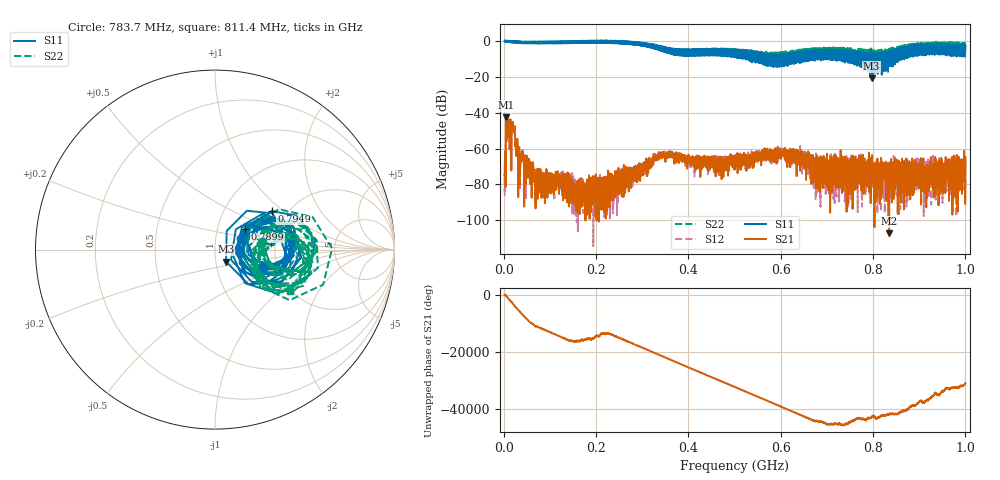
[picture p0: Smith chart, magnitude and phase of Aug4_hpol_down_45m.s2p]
!Keysight Technologies N9923A: A.12.45
!Date: Tuesday, 05 August 2025 19:10:24
!Timezone: (UTC+08:00) Kuala Lumpur, Singapore
!Model: N9923A
!Serial: MY61181427
!GPS Latitude:
!GPS Longitude:
!GPS TimeStamp: 0001-01-01 00:00:00Z
!GPS Seconds Since Last Read: 0
!CHECKSUM:1889363829
!Correction: S11(ON U)S21(ON U)S12(ON U)S22(ON U)
!S2P File: Measurements:S11,S21,S12,S22:
# Hz S DB R 50
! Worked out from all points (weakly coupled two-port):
!   4001 points, 2 MHz to 1 GHz, reference 50 ohm
!   highest |S21| = -42.59 dB at 4.994 MHz (marker M1); lowest = -107.2 dB at 834.8 MHz (marker M2)
!   lowest |S11| = -20.9 dB at 796.9 MHz (marker M3), VSWR 1.20, Z = 56 - j7.52 ohm
!   |S11| at or under -10 dB: 575.8153 MHz to 576.6012 MHz (785.9 kHz wide, 0.136 % of centre); 582.5588 MHz to 583.3547 MHz (795.9 kHz wide, 0.137 % of centre); 589.3101 MHz to 590.113 MHz (802.9 kHz wide, 0.136 % of centre)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
!   |S22| runs from -14.8 to 0.2 dB; largest |S21 - S12| = 0.0011
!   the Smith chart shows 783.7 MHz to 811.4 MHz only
!   S11 on the Smith chart (normalised r, x): 783.7 MHz: 1.69, -0.36; 789.9 MHz: 1.36, +0.32; 794.9 MHz: 1.66, +0.83; 811.4 MHz: 2.46, +0.23
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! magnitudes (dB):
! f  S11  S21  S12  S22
! 2 MHz  -0.1  -74.7  -76.2  -0.1
! 4.994 MHz  0.1  -42.6  -42.5  0.1
! 9.735 MHz  -0.2  -43.8  -43.8  -0.2
! 18.97 MHz  -0.7  -47.4  -47.5  -0.8
! 32.19 MHz  -0.7  -70.0  -70.1  -0.8
! 69.36 MHz  -1.4  -89.5  -81.5  -1.3
! 168.4 MHz  -1.2  -86.1  -79.6  -1.0
! 246.3 MHz  -0.3  -72.3  -81.8  -0.4
! 334.8 MHz  -3.8  -64.2  -65.4  -4.6
! 501 MHz  -5.7  -69.1  -65.1  -6.5
! 600.6 MHz  -8.0  -61.8  -60.2  -7.9
! 667.4 MHz  -8.7  -74.7  -66.1  -8.7
! 783.7 MHz  -10.9  -80.7  -76.9  -11.6
! 789.9 MHz  -13.9  -74.8  -66.9  -6.1
! 794.9 MHz  -8.4  -90.4  -69.1  -7.6
! 796.9 MHz  -20.9  -74.5  -70.1  -7.5
! 811.4 MHz  -7.4  -77.1  -75.0  -6.4
! 833.8 MHz  -10.6  -71.3  -75.7  -5.4
! 834.8 MHz  -6.0  -107.2  -79.2  -7.1
! 913.4 MHz  -6.4  -79.0  -70.1  -4.5
! 991.8 MHz  -2.9  -69.2  -80.8  -1.1
! 1 GHz  -2.5  -64.9  -84.3  -2.3
